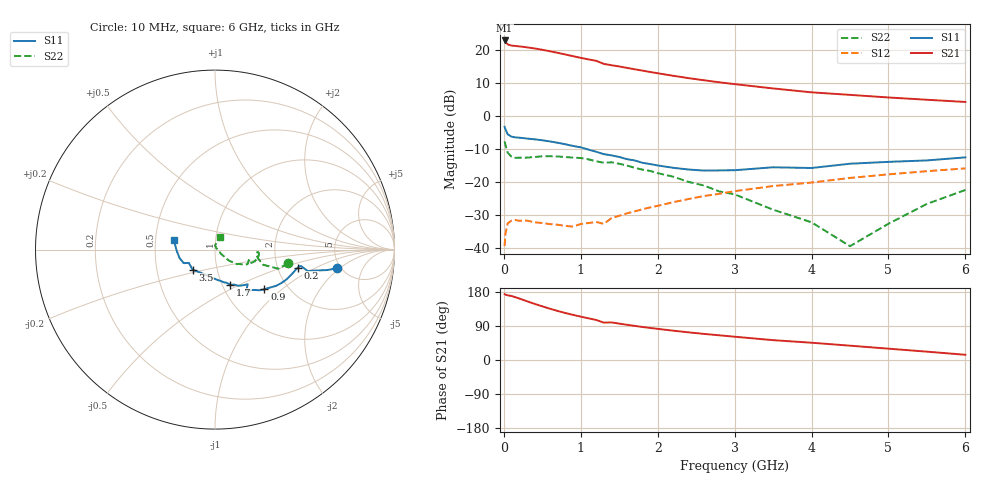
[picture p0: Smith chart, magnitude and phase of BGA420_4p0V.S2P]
! (c) 1999  Infineon Technologies AG, Munich
! Infineon Technologies  Discrete & RF Semiconductors
! BGA420
! Si NPN RF SIEGET Grounded Emitter Transistor in SOT343
! VCE =  IC =
! Common Emitter S-Parameters:  November  1999
# GHz  S  MA  R  50
!  f  S11  S21  S12  S22
! GHz  MAG  ANG  MAG  ANG  MAG  ANG  MAG  ANG
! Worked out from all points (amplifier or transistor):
!   36 points, 10 MHz to 6 GHz, reference 50 ohm
!   highest |S21| = 22.9 dB at 10 MHz (marker M1)
!   |S21| within 3 dB of that: start of sweep to 539.7 MHz
!   unconditionally stable (mu >= 1): start of sweep to end of sweep
!   at 250 MHz: K = 1.52, MAG = 22.1 dB, |S12| = -31.7 dB
!   at 1.4 GHz: K = 2.79, MAG = 15.8 dB, |S12| = -30.9 dB
!   at 6 GHz: K = 1.92, MAG = 4.5 dB, |S12| = -15.8 dB
!   S11 on the Smith chart (normalised r, x): 10 MHz: 4.65, -1.84; 200 MHz: 2.57, -0.68; 900 MHz: 1.52, -0.77; 1.7 GHz: 1.09, -0.45; 3.5 GHz: 0.76, -0.18; 6 GHz: 0.62, +0.07
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0.01  0.6881 -8.7  14.01 173.8  0.0108 45.1  0.4151 -10.5
0.02  0.6359 -10.3  13.26 172.6  0.0162 38.9  0.3676 -16.8
0.05  0.5296 -13.0  12.21 170.7  0.0237 22.6  0.2797 -17.5
0.1  0.4881 -10.8  11.72 168.9  0.0261 12.7  0.2418 -10.8
0.2  0.4711 -12.6  11.4 162.3  0.0259 8.2  0.2347 -5.8
0.3  0.4571 -15.7  11.02 155.1  0.0261 6.6  0.235 -4.0
0.4  0.4451 -18.8  10.6 148.1  0.0246 7.6  0.2401 -3.1
0.5  0.4306 -22.9  10.13 141.6  0.024 9.3  0.2462 -4.9
0.6  0.413 -27.0  9.61 135.3  0.0231 11.6  0.2467 -6.7
0.7  0.3946 -30.9  9.1 129.4  0.0226 16.6  0.2447 -9.0
0.9  0.3529 -38.8  8.091 119.1  0.0212 25.2  0.2349 -13.7
1.1  0.3108 -46.3  7.239 110.0  0.024 37.4  0.2212 -18.9
1.2  0.2886 -53.0  6.886 105.7  0.0249 39.7  0.2067 -21.4
1.3  0.2653 -46.7  6.184 98.6  0.0233 47.2  0.1969 -17.0
1.4  0.2542 -51.4  5.902 99.2  0.0285 51.2  0.1995 -23.9
1.7  0.2133 -66.4  5.127 90.1  0.036 56.8  0.165 -29.5
2.2  0.1649 -88.9  4.088 77.4  0.0496 58.6  0.1211 -35.6
2.8  0.1505 -115.8  3.258 65.2  0.0665 56.3  0.0723 -39.0
3.5  0.1678 -137.9  2.626 52.4  0.0872 50.4  0.0382 -34.7
4.5  0.19 -156.6  2.099 37.8  0.1157 41.4  0.0107 45.2
5.5  0.2132 -177.9  1.77 22.0  0.1464 29.2  0.0468 73.0
6  0.2371 166.3  1.639 13.8  0.1614 22.1  0.076 68.3
